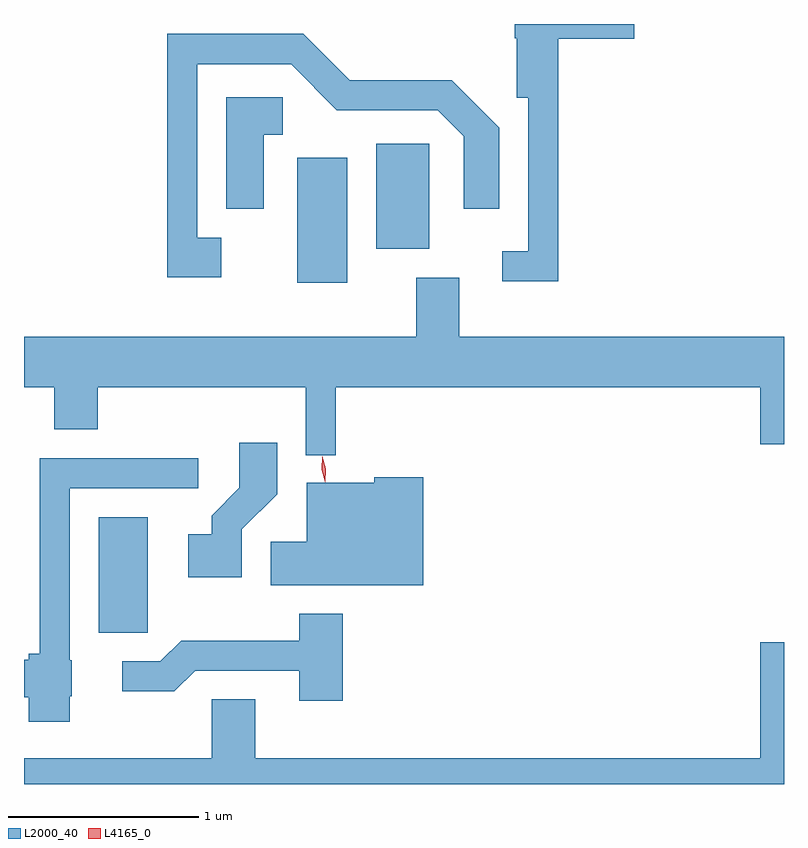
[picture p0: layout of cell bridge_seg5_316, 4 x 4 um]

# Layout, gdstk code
import gdstk
lib = gdstk.Library(unit=1e-6, precision=1e-09)
def R(c, l, rs):  # rectangles x0, y0, x1, y1
    for r in rs: c.add(gdstk.rectangle(r[:2], r[2:], *l))
def P(c, l, *ps):  # polygons
    for p in ps: c.add(gdstk.Polygon(p, *l))
L2000_40 = (2000, 40)
L4165_0 = (4165, 0)

bridge_seg5_316 = lib.new_cell('bridge_seg5_316')
R(bridge_seg5_316, L2000_40, [(671.136,1408.886,671.394,1409.494), (672.181,1410.726,672.444,1411.384), (672.596,1410.906,672.874,1411.459)])
P(bridge_seg5_316, L2000_40, [(673.554,1412.011),(673.954,1412.011),(673.954,1412.089),(673.326,1412.089),(673.326,1412.015),(673.336,1412.015),(673.336,1411.701),(673.396,1411.701),(673.396,1410.894),(673.258,1410.894),(673.258,1410.736),(673.554,1410.736)],
  [(671.779,1410.964),(671.654,1410.964),(671.654,1411.876),(672.149,1411.876),(672.389,1411.636),(672.919,1411.636),(673.056,1411.499),(673.056,1411.116),(673.244,1411.116),(673.244,1411.542),(672.992,1411.794),(672.457,1411.794),(672.212,1412.039),(671.496,1412.039),(671.496,1410.756),(671.779,1410.756)],
  [(672.004,1411.506),(672.104,1411.506),(672.104,1411.704),(671.806,1411.704),(671.806,1411.116),(672.004,1411.116)],
  [(673.034,1410.754),(672.806,1410.754),(672.806,1410.444),(670.742,1410.444),(670.742,1410.176),(670.901,1410.176),(670.901,1409.956),(671.129,1409.956),(671.129,1410.176),(672.226,1410.176),(672.226,1409.818),(672.384,1409.818),(672.384,1410.176),(674.616,1410.176),(674.616,1409.876),(674.742,1409.876),(674.742,1410.444),(673.034,1410.444)],
  [(671.889,1409.429),(672.074,1409.614),(672.074,1409.884),(671.876,1409.884),(671.876,1409.647),(671.731,1409.502),(671.731,1409.404),(671.606,1409.404),(671.606,1409.176),(671.889,1409.176)],
  [(670.984,1408.55),(670.994,1408.55),(670.994,1408.74),(670.984,1408.74),(670.984,1409.646),(671.658,1409.646),(671.658,1409.804),(670.826,1409.804),(670.826,1408.774),(670.766,1408.774),(670.766,1408.744),(670.742,1408.744),(670.742,1408.546),(670.766,1408.546),(670.766,1408.416),(670.984,1408.416)],
  [(672.844,1409.704),(672.586,1409.704),(672.586,1409.674),(672.231,1409.674),(672.231,1409.364),(672.041,1409.364),(672.041,1409.136),(672.844,1409.136)],
  [(672.419,1408.984),(672.191,1408.984),(672.191,1408.844),(671.569,1408.844),(671.459,1408.734),(671.258,1408.734),(671.258,1408.576),(671.532,1408.576),(671.642,1408.686),(672.191,1408.686),(672.191,1408.526),(672.419,1408.526)],
  [(674.742,1408.834),(674.616,1408.834),(674.616,1408.224),(671.959,1408.224),(671.959,1408.534),(671.731,1408.534),(671.731,1408.224),(670.742,1408.224),(670.742,1408.089),(674.742,1408.089)])
P(bridge_seg5_316, L4165_0, [(672.328,1409.676),(672.327,1409.677),(672.31,1409.744),(672.312,1409.814),(672.312,1409.815),(672.313,1409.814),(672.33,1409.747),(672.328,1409.677)])

lib.write_gds('bridge_seg5_316.gds')
